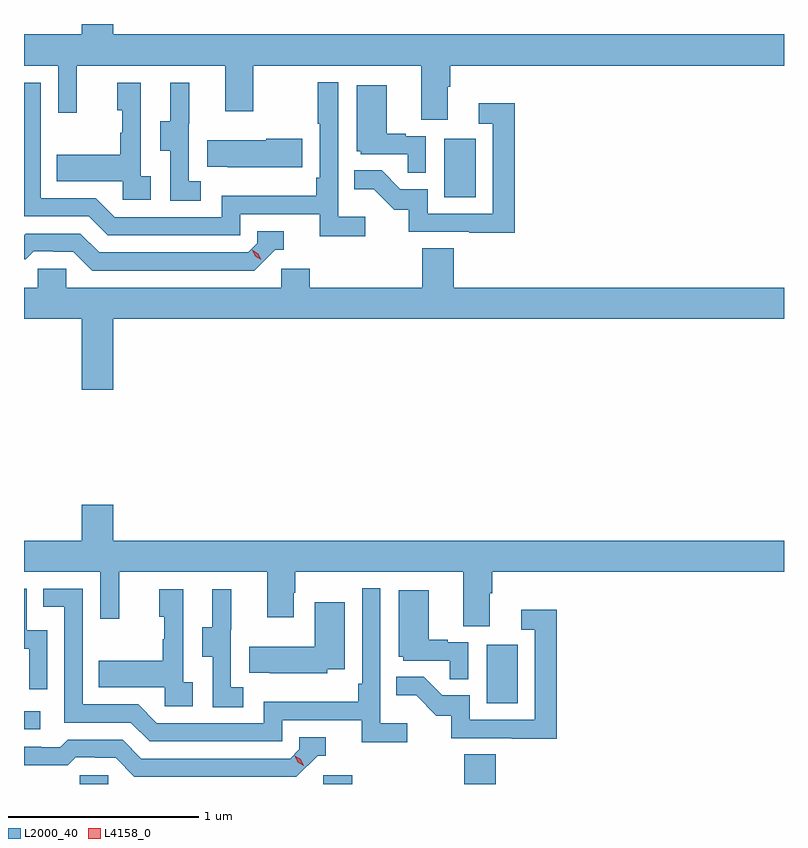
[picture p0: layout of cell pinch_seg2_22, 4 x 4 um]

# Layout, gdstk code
import gdstk
lib = gdstk.Library(unit=1e-6, precision=1e-09)
def R(c, l, rs):  # rectangles x0, y0, x1, y1
    for r in rs: c.add(gdstk.rectangle(r[:2], r[2:], *l))
def P(c, l, *ps):  # polygons
    for p in ps: c.add(gdstk.Polygon(p, *l))
L2000_40 = (2000, 40)
L4158_0 = (4158, 0)

pinch_seg2_22 = lib.new_cell('pinch_seg2_22')
R(pinch_seg2_22, L2000_40, [(1112.049,650.515,1112.199,650.562), (1113.33,650.515,1113.482,650.562), (1114.073,650.515,1114.238,650.672), (1111.755,650.802,1111.84,650.898), (1114.19,650.94,1114.354,651.247), (1113.968,653.604,1114.132,653.911)])
P(pinch_seg2_22, L2000_40, [(1113.985,654.184),(1113.998,654.184),(1113.998,654.296),(1115.755,654.296),(1115.755,654.46),(1112.224,654.46),(1112.224,654.515),(1112.06,654.515),(1112.06,654.46),(1111.755,654.46),(1111.755,654.296),(1111.935,654.296),(1111.935,654.048),(1112.033,654.048),(1112.033,654.296),(1112.813,654.296),(1112.813,654.057),(1112.961,654.057),(1112.961,654.296),(1113.845,654.296),(1113.845,654.01),(1113.985,654.01)],
  [(1113.55,653.5),(1113.408,653.5),(1113.408,654.208),(1113.3,654.208),(1113.3,653.989),(1113.312,653.989),(1113.312,653.707),(1113.292,653.707),(1113.292,653.611),(1112.796,653.611),(1112.796,653.499),(1112.232,653.499),(1112.133,653.598),(1111.842,653.598),(1111.842,654.207),(1111.755,654.207),(1111.755,653.502),(1112.096,653.502),(1112.195,653.403),(1112.892,653.403),(1112.892,653.514),(1113.311,653.514),(1113.311,653.398),(1113.55,653.398)],
  [(1112.422,653.714),(1112.37,653.714),(1112.37,654.205),(1112.246,654.205),(1112.246,654.06),(1112.272,654.06),(1112.272,653.942),(1112.262,653.942),(1112.262,653.827),(1111.927,653.827),(1111.927,653.687),(1112.274,653.687),(1112.274,653.589),(1112.422,653.589)],
  [(1112.686,653.687),(1112.622,653.687),(1112.622,653.991),(1112.624,653.991),(1112.624,654.205),(1112.525,654.205),(1112.525,654.003),(1112.471,654.003),(1112.471,653.848),(1112.526,653.848),(1112.526,653.584),(1112.686,653.584)],
  [(1113.87,653.925),(1113.764,653.925),(1113.764,653.938),(1113.664,653.938),(1113.664,654.193),(1113.506,654.193),(1113.506,653.844),(1113.528,653.844),(1113.528,653.829),(1113.775,653.829),(1113.775,653.731),(1113.87,653.731)],
  [(1114.337,654.097),(1114.149,654.097),(1114.149,653.991),(1114.221,653.991),(1114.221,653.517),(1113.879,653.517),(1113.879,653.646),(1113.735,653.646),(1113.637,653.744),(1113.493,653.744),(1113.493,653.645),(1113.597,653.645),(1113.704,653.538),(1113.781,653.538),(1113.781,653.421),(1114.099,653.421),(1114.099,653.416),(1114.337,653.416)],
  [(1113.22,653.91),(1113.029,653.91),(1113.029,653.902),(1112.719,653.902),(1112.719,653.765),(1112.827,653.765),(1112.827,653.762),(1113.22,653.762)],
  [(1113.078,653.328),(1113.121,653.328),(1113.121,653.424),(1112.982,653.424),(1112.982,653.361),(1112.934,653.313),(1112.151,653.313),(1112.052,653.412),(1111.763,653.412),(1111.755,653.404),(1111.755,653.277),(1111.763,653.277),(1111.805,653.319),(1111.908,653.319),(1111.908,653.316),(1112.015,653.316),(1112.114,653.217),(1112.967,653.217)],
  [(1112.224,652.964),(1115.755,652.964),(1115.755,653.128),(1114.016,653.128),(1114.016,653.336),(1113.851,653.336),(1113.851,653.128),(1113.26,653.128),(1113.26,653.226),(1113.108,653.226),(1113.108,653.128),(1111.977,653.128),(1111.977,653.226),(1111.827,653.226),(1111.827,653.128),(1111.755,653.128),(1111.755,652.964),(1112.06,652.964),(1112.06,652.59),(1112.224,652.59)],
  [(1114.207,651.52),(1114.22,651.52),(1114.22,651.632),(1115.755,651.632),(1115.755,651.796),(1112.224,651.796),(1112.224,651.985),(1112.06,651.985),(1112.06,651.796),(1111.755,651.796),(1111.755,651.632),(1112.157,651.632),(1112.157,651.384),(1112.255,651.384),(1112.255,651.632),(1113.035,651.632),(1113.035,651.393),(1113.175,651.393),(1113.175,651.521),(1113.183,651.521),(1113.183,651.632),(1114.067,651.632),(1114.067,651.346),(1114.207,651.346)],
  [(1113.772,650.836),(1113.63,650.836),(1113.63,651.544),(1113.534,651.544),(1113.534,651.043),(1113.514,651.043),(1113.514,650.947),(1113.018,650.947),(1113.018,650.835),(1112.454,650.835),(1112.355,650.934),(1112.064,650.934),(1112.064,651.543),(1111.855,651.543),(1111.855,651.447),(1111.968,651.447),(1111.968,650.838),(1112.318,650.838),(1112.417,650.739),(1113.114,650.739),(1113.114,650.85),(1113.533,650.85),(1113.533,650.734),(1113.772,650.734)],
  [(1111.878,651.324),(1111.77,651.324),(1111.77,651.543),(1111.755,651.543),(1111.755,651.227),(1111.782,651.227),(1111.782,651.015),(1111.878,651.015)],
  [(1112.908,651.023),(1112.844,651.023),(1112.844,651.327),(1112.846,651.327),(1112.846,651.541),(1112.747,651.541),(1112.747,651.339),(1112.693,651.339),(1112.693,651.184),(1112.748,651.184),(1112.748,650.92),(1112.908,650.92)],
  [(1112.644,651.05),(1112.592,651.05),(1112.592,651.541),(1112.468,651.541),(1112.468,651.396),(1112.494,651.396),(1112.494,651.278),(1112.484,651.278),(1112.484,651.163),(1112.149,651.163),(1112.149,651.023),(1112.496,651.023),(1112.496,650.925),(1112.644,650.925)],
  [(1114.092,651.261),(1113.986,651.261),(1113.986,651.274),(1113.886,651.274),(1113.886,651.535),(1113.728,651.535),(1113.728,651.186),(1113.75,651.186),(1113.75,651.165),(1113.997,651.165),(1113.997,651.067),(1114.092,651.067)],
  [(1113.351,651.119),(1113.442,651.119),(1113.442,651.472),(1113.284,651.472),(1113.284,651.238),(1112.941,651.238),(1112.941,651.101),(1113.049,651.101),(1113.049,651.098),(1113.351,651.098)],
  [(1114.559,651.433),(1114.371,651.433),(1114.371,651.327),(1114.443,651.327),(1114.443,650.853),(1114.101,650.853),(1114.101,650.982),(1113.957,650.982),(1113.859,651.08),(1113.715,651.08),(1113.715,650.981),(1113.819,650.981),(1113.926,650.874),(1114.003,650.874),(1114.003,650.757),(1114.321,650.757),(1114.321,650.752),(1114.559,650.752)],
  [(1113.3,650.664),(1113.343,650.664),(1113.343,650.76),(1113.204,650.76),(1113.204,650.697),(1113.156,650.649),(1112.373,650.649),(1112.274,650.748),(1111.985,650.748),(1111.946,650.709),(1111.847,650.709),(1111.847,650.712),(1111.755,650.712),(1111.755,650.613),(1111.985,650.613),(1112.027,650.655),(1112.13,650.655),(1112.13,650.652),(1112.237,650.652),(1112.336,650.553),(1113.189,650.553)])
P(pinch_seg2_22, L4158_0, [(1113.003,653.273),(1112.973,653.293),(1112.957,653.326),(1112.957,653.326),(1112.957,653.326),(1112.988,653.306),(1113.004,653.274),(1113.004,653.273)],
  [(1113.227,650.611),(1113.196,650.63),(1113.18,650.663),(1113.18,650.663),(1113.181,650.663),(1113.211,650.644),(1113.227,650.611),(1113.227,650.611)])

lib.write_gds('pinch_seg2_22.gds')
